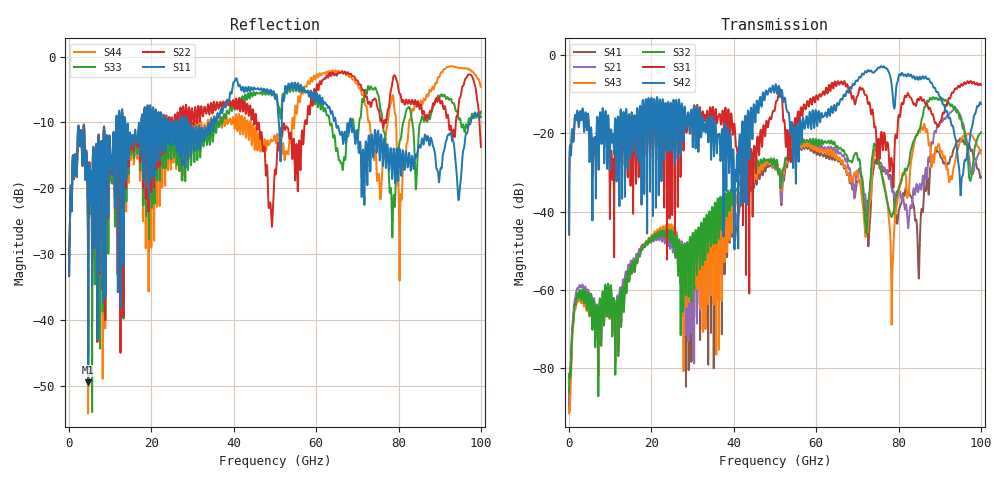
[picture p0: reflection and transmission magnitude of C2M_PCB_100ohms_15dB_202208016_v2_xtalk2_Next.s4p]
! Info: Touchstone file created by Circ.  Input file=Intel_C2M_200G_4p0in_202208016_staggered.circ
# Hz S RI R 50
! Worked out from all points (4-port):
!   10000 points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, 10 MHz to 100 GHz, reference 50 ohm
!   strongest paths, dB at 10 MHz, 25.01 GHz, 50.01 GHz, 75.01 GHz, 100 GHz:
!     S42: -45.7, -23.6, -8.5, -3.3, -12.5
!     S31: -45.9, -27.8, -13.8, -22.6, -7.7
!     S32: -86.1, -45.8, -28.8, -26.0, -19.8
!     S43: -90.3, -44.1, -28.7, -26.5, -25.2
!     S21: -87.8, -47.7, -28.9, -25.8, -24.4
!     S41: -89.8, -45.7, -28.9, -27.3, -31.2
!   lowest |S11| = -49.5 dB at 4.65 GHz (marker M1), VSWR 1.01, Z = 49.9 - j0.317 ohm
!   |S11| at or under -10 dB: start of sweep to 11.42 GHz; 28.64 GHz to 34.46 GHz (5.82 GHz wide, 18.4 % of centre); 68.5 GHz to 97.51 GHz (29.02 GHz wide, 35 % of centre)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
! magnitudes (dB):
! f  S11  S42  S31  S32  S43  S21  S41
! 10 MHz  -33.3  -45.7  -45.9  -86.1  -90.3  -87.8  -89.8
! 4.65 GHz  -49.5  -15.3  -16.2  -60.7  -63.2  -59.9  -62.0
! 56.42 GHz  -4.6  -21.9  -13.6  -22.6  -23.7  -22.8  -24.3
! 74.58 GHz  -13.8  -4.0  -20.5  -24.2  -25.9  -25.0  -27.6
! 78.44 GHz  -18.5  -8.8  -27.6  -41.1  -57.8  -34.8  -34.6
! 85.16 GHz  -13.5  -5.6  -11.2  -18.9  -19.8  -33.0  -48.4
! 100 GHz  -9.2  -12.5  -7.7  -19.8  -25.2  -24.4  -31.2
